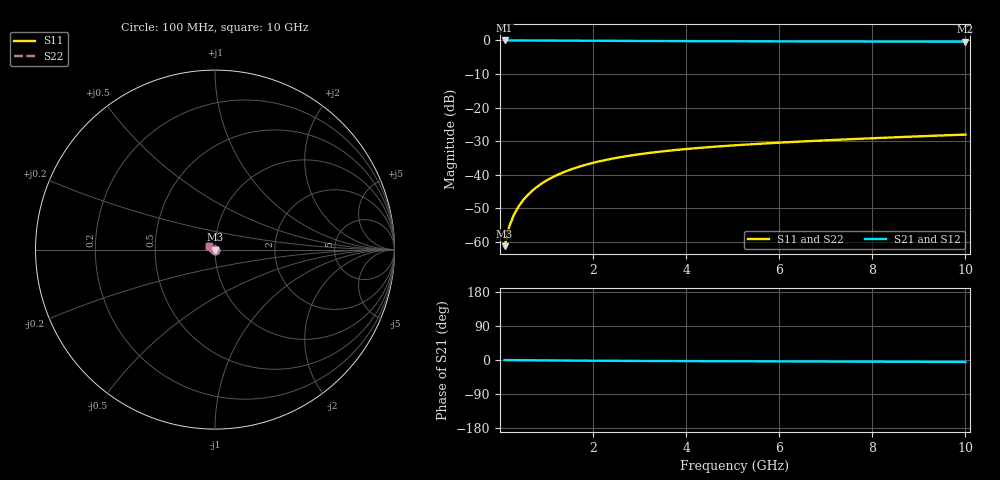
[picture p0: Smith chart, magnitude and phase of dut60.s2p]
! Touchstone file exported from HFSS 2024.1.0
!  File:  C:/UserFiles/LocalFiles/RDL_TSV_Batchsim/temp_TSV1_60_1779372884.aedt
!  Generated:  10:20:47 PM May 21, 2026
!  Design:  TSV1
!  Project:  temp_TSV1_60_1779372884
!  Setup:  Setup1
!  Solution:  Sweep
! Variables:
!  dtsv = 8.03um
!  hbump = 3um
!  htsv = 74.87um
!  lrdl = 252.1521522um
!  p = 40
!  p1 = 55.33um
!  t = 500um
!  trdl = 3um
!  wrdl = 24.89489489um
# GHz S MA R 50.000000
! Terminal data exported
! Port[1] = TSV22_T1
! Port[2] = TSV22_T2
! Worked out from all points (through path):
!   100 points, 100 MHz to 10 GHz, reference 50 ohm
!   highest |S21| = 0.00 dB at 100 MHz (marker M1); lowest = -0.3 dB at 10 GHz (marker M2)
!   lowest |S11| = -61.3 dB at 100 MHz (marker M3), VSWR 1.00, Z = 50 - j0.0846 ohm
!   |S11| at or under -10 dB: start of sweep to end of sweep
!   |S22| runs from -61.3 to -28.0 dB; largest |S21 - S12| = 1.6e-14
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0.1  0.0008651 -77.8  0.9997 -0.1  0.9997 -0.1  0.0008651 -77.8
! Gamma 0 0 0 0
! Port Impedance 50 0 50 0
0.2  0.001702 -86.9  0.9996 -0.2  0.9996 -0.2  0.001702 -86.9
0.3  0.002542 -91.5  0.9995 -0.3  0.9995 -0.3  0.002542 -91.5
0.4  0.003378 -94.9  0.9992 -0.4  0.9992 -0.4  0.003378 -94.9
0.5  0.004208 -97.8  0.9989 -0.5  0.9989 -0.5  0.004208 -97.8
0.6  0.00503 -100.4  0.9986 -0.7  0.9986 -0.7  0.00503 -100.4
0.7  0.005841 -102.9  0.9982 -0.8  0.9982 -0.8  0.005841 -102.9
0.8  0.006642 -105.2  0.9977 -0.9  0.9977 -0.9  0.006642 -105.2
0.9  0.00743 -107.5  0.9973 -1.0  0.9973 -1.0  0.00743 -107.5
1.1  0.008964 -111.9  0.9961 -1.1  0.9961 -1.1  0.008964 -111.9
1.4  0.01115 -118.1  0.9942 -1.4  0.9942 -1.4  0.01115 -118.1
1.6  0.01252 -122.1  0.9928 -1.6  0.9928 -1.6  0.01252 -122.1
1.8  0.01382 -125.9  0.9913 -1.7  0.9913 -1.7  0.01382 -125.9
2.1  0.01564 -131.3  0.9891 -2.0  0.9891 -2.0  0.01564 -131.3
2.5  0.01784 -138.1  0.9861 -2.2  0.9861 -2.2  0.01784 -138.1
2.9  0.01979 -144.3  0.9832 -2.4  0.9832 -2.4  0.01979 -144.3
3.4  0.02194 -151.4  0.9799 -2.7  0.9799 -2.7  0.02194 -151.4
4.2  0.02486 -161.5  0.9754 -3.0  0.9754 -3.0  0.02486 -161.5
5.1  0.02763 -171.2  0.9714 -3.3  0.9714 -3.3  0.02763 -171.2
6.7  0.03184 174.7  0.9664 -3.9  0.9664 -3.9  0.03184 174.7
8.4  0.03592 162.9  0.9629 -4.5  0.9629 -4.5  0.03592 162.9
10  0.03969 154.0  0.9606 -5.0  0.9606 -5.0  0.03969 154.0
